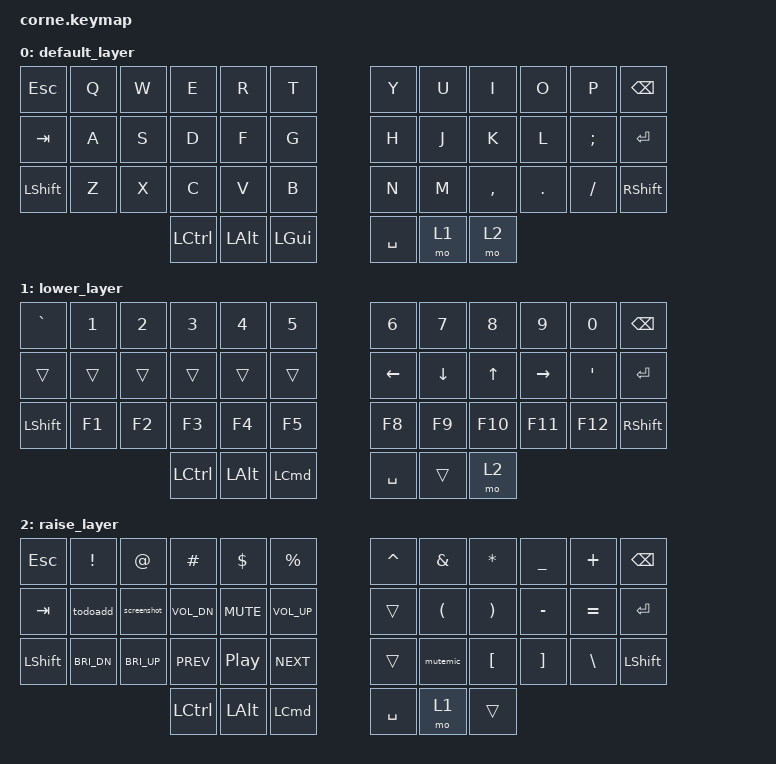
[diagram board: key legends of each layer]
/*
 * Copyright (c) 2020 The ZMK Contributors
 *
 * SPDX-License-Identifier: MIT
 */

#include <behaviors.dtsi>
#include <dt-bindings/zmk/keys.h>

/ {
    macros {
        mutemic: mutemic {
            compatible = "zmk,behavior-macro";
            #binding-cells = <0>;
            bindings =
                <&macro_press>,
                <&kp LEFT_SHIFT &kp LEFT_GUI>,
                <&macro_tap>,
                <&kp F12>,
                <&macro_release>,
                <&kp LEFT_SHIFT &kp LEFT_COMMAND>;

            label = "MUTEMIC";
        };

        screenshot: screenshot {
            compatible = "zmk,behavior-macro";
            #binding-cells = <0>;
            bindings =
                <&macro_press>,
                <&kp LEFT_SHIFT &kp LEFT_GUI>,
                <&macro_tap>,
                <&kp S>,
                <&macro_release>,
                <&kp LEFT_SHIFT &kp LEFT_COMMAND>;

            label = "SCREENSHOT";
        };

        todoadd: todoadd {
            compatible = "zmk,behavior-macro";
            #binding-cells = <0>;
            bindings =
                <&macro_press>,
                <&kp LEFT_ALT &kp LEFT_SHIFT>,
                <&macro_tap>,
                <&kp A>,
                <&macro_release>,
                <&kp LEFT_ALT &kp LEFT_SHIFT>;

            label = "TODOADD";
        };
    };

    keymap {
        compatible = "zmk,keymap";

        default_layer {
            // -----------------------------------------------------------------------------------------
            // |  TAB |  Q  |  W  |  E  |  R  |  T  |   |  Y  |  U   |  I  |  O  |  P  | BKSP |
            // | CTRL |  A  |  S  |  D  |  F  |  G  |   |  H  |  J   |  K  |  L  |  ;  |  '   |
            // | SHFT |  Z  |  X  |  C  |  V  |  B  |   |  N  |  M   |  ,  |  .  |  /  | ESC  |
            //                    | GUI | LWR | SPC |   | ENT | RSE  | ALT |

            bindings = <
&kp ESCAPE  &kp Q  &kp W  &kp E             &kp R         &kp T           &kp Y      &kp U  &kp I      &kp O    &kp P          &kp BSPC
&kp TAB     &kp A  &kp S  &kp D             &kp F         &kp G           &kp H      &kp J  &kp K      &kp L    &kp SEMICOLON  &kp ENTER
&kp LSHFT   &kp Z  &kp X  &kp C             &kp V         &kp B           &kp N      &kp M  &kp COMMA  &kp DOT  &kp FSLH       &kp RIGHT_SHIFT
                          &kp LEFT_CONTROL  &kp LEFT_ALT  &kp LEFT_GUI    &kp SPACE  &mo 1  &mo 2
            >;
        };

        lower_layer {
            bindings = <
&kp GRAVE       &kp NUMBER_1  &kp NUMBER_2  &kp NUMBER_3      &kp NUMBER_4  &kp N5              &kp NUMBER_6    &kp N7    &kp N8        &kp N9     &kp N0   &kp BACKSPACE
&trans          &trans        &trans        &trans            &trans        &trans              &kp LEFT_ARROW  &kp DOWN  &kp UP_ARROW  &kp RIGHT  &kp SQT  &kp ENTER
&kp LEFT_SHIFT  &kp F1        &kp F2        &kp F3            &kp F4        &kp F5              &kp F8          &kp F9    &kp F10       &kp F11    &kp F12  &kp RIGHT_SHIFT
                                            &kp LEFT_CONTROL  &kp LEFT_ALT  &kp LEFT_COMMAND    &kp SPACE       &trans    &mo 2
            >;
        };

        raise_layer {
            bindings = <
&kp ESCAPE      &kp EXCLAMATION  &kp AT_SIGN   &kp HASH          &kp DOLLAR        &kp PERCENT         &kp CARET  &kp AMPERSAND         &kp ASTERISK           &kp UNDER          &kp PLUS       &kp BACKSPACE
&kp TAB         &todoadd         &screenshot   &kp C_VOL_DN      &kp K_MUTE        &kp C_VOLUME_UP     &trans     &kp LEFT_PARENTHESIS  &kp RIGHT_PARENTHESIS  &kp MINUS          &kp EQUAL      &kp ENTER
&kp LEFT_SHIFT  &kp C_BRI_DN     &kp C_BRI_UP  &kp C_PREV        &kp C_PLAY_PAUSE  &kp C_NEXT          &trans     &mutemic              &kp LEFT_BRACKET       &kp RIGHT_BRACKET  &kp BACKSLASH  &kp LEFT_SHIFT
                                               &kp LEFT_CONTROL  &kp LEFT_ALT      &kp LEFT_COMMAND    &kp SPACE  &mo 1                 &trans
            >;
        };
    };
};
